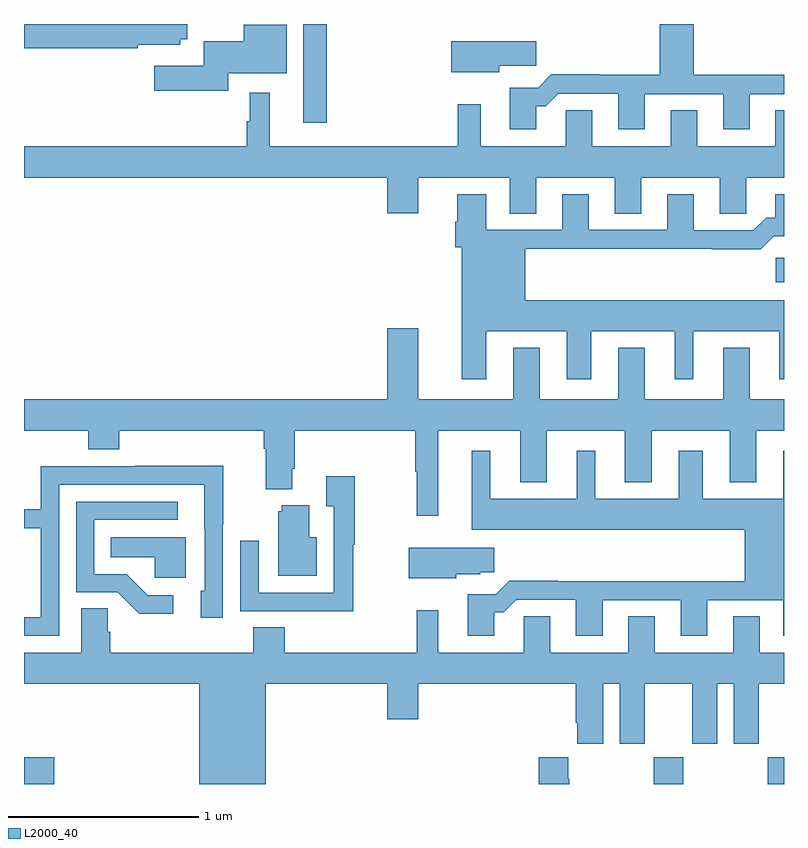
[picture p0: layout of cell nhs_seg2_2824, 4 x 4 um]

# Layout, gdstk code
import gdstk
lib = gdstk.Library(unit=1e-6, precision=1e-09)
def R(c, l, rs):  # rectangles x0, y0, x1, y1
    for r in rs: c.add(gdstk.rectangle(r[:2], r[2:], *l))
def P(c, l, *ps):  # polygons
    for p in ps: c.add(gdstk.Polygon(p, *l))
L2000_40 = (2000, 40)

nhs_seg2_2824 = lib.new_cell('nhs_seg2_2824')
R(nhs_seg2_2824, L2000_40, [(259,621.8,259.16,621.94), (262.315,621.8,262.47,621.94), (262.915,621.8,263,621.94), (262.956,624.44,263,624.569), (260.471,625.281,260.593,625.8)])
P(nhs_seg2_2824, L2000_40, [(261.697,625.367),(261.746,625.367),(261.813,625.434),(262.127,625.434),(262.127,625.245),(262.267,625.245),(262.267,625.431),(262.679,625.431),(262.679,625.245),(262.819,625.245),(262.819,625.431),(263,625.431),(263,625.532),(262.524,625.532),(262.524,625.8),(262.346,625.8),(262.346,625.532),(262.031,625.532),(262.031,625.535),(261.776,625.535),(261.706,625.465),(261.557,625.465),(261.557,625.245),(261.697,625.245)],
  [(259.598,625.692),(259.822,625.692),(259.822,625.721),(259.86,625.721),(259.86,625.8),(259,625.8),(259,625.672),(259.598,625.672)],
  [(260.074,625.541),(260.383,625.541),(260.383,625.795),(260.156,625.795),(260.156,625.708),(259.946,625.708),(259.946,625.579),(259.686,625.579),(259.686,625.45),(260.074,625.45)],
  [(261.502,625.579),(261.697,625.579),(261.697,625.708),(261.248,625.708),(261.248,625.547),(261.502,625.547)],
  [(261.697,624.992),(262.109,624.992),(262.109,624.802),(262.249,624.802),(262.249,624.992),(262.661,624.992),(262.661,624.802),(262.8,624.802),(262.8,624.992),(263,624.992),(263,625.346),(262.955,625.346),(262.955,625.156),(262.543,625.156),(262.543,625.346),(262.403,625.346),(262.403,625.156),(261.991,625.156),(261.991,625.346),(261.852,625.346),(261.852,625.156),(261.403,625.156),(261.403,625.378),(261.282,625.378),(261.282,625.156),(260.293,625.156),(260.293,625.438),(260.189,625.438),(260.189,625.289),(260.172,625.289),(260.172,625.156),(259,625.156),(259,624.992),(260.912,624.992),(260.912,624.804),(261.076,624.804),(261.076,624.992),(261.557,624.992),(261.557,624.802),(261.697,624.802)],
  [(261.433,624.182),(261.857,624.182),(261.857,623.931),(261.985,623.931),(261.985,624.182),(262.424,624.182),(262.424,623.931),(262.522,623.931),(262.522,624.182),(262.976,624.182),(262.976,623.931),(263,623.931),(263,624.346),(261.637,624.346),(261.637,624.616),(262.621,624.616),(262.621,624.614),(262.877,624.614),(262.946,624.683),(263,624.683),(263,624.904),(262.955,624.904),(262.955,624.781),(262.906,624.781),(262.839,624.714),(262.525,624.714),(262.525,624.904),(262.385,624.904),(262.385,624.717),(261.973,624.717),(261.973,624.904),(261.833,624.904),(261.833,624.717),(261.433,624.717),(261.433,624.904),(261.281,624.904),(261.281,624.758),(261.269,624.758),(261.269,624.624),(261.305,624.624),(261.305,623.931),(261.433,623.931)],
  [(261.181,623.66),(261.611,623.66),(261.611,623.387),(261.751,623.387),(261.751,623.66),(262.163,623.66),(262.163,623.387),(262.303,623.387),(262.303,623.66),(262.715,623.66),(262.715,623.387),(262.855,623.387),(262.855,623.66),(263,623.66),(263,623.824),(262.819,623.824),(262.819,624.097),(262.679,624.097),(262.679,623.824),(262.267,623.824),(262.267,624.097),(262.127,624.097),(262.127,623.824),(261.715,623.824),(261.715,624.097),(261.575,624.097),(261.575,623.824),(261.076,623.824),(261.076,624.199),(260.912,624.199),(260.912,623.824),(259,623.824),(259,623.66),(259.337,623.66),(259.337,623.561),(259.502,623.561),(259.502,623.66),(260.261,623.66),(260.261,623.564),(260.273,623.564),(260.273,623.351),(260.413,623.351),(260.413,623.458),(260.426,623.458),(260.426,623.66),(261.06,623.66),(261.06,623.444),(261.067,623.444),(261.067,623.211),(261.181,623.211)],
  [(261.475,622.703),(261.524,622.703),(261.591,622.77),(261.905,622.77),(261.905,622.581),(262.045,622.581),(262.045,622.767),(262.457,622.767),(262.457,622.581),(262.597,622.581),(262.597,622.767),(262.997,622.767),(262.997,622.581),(263,622.581),(263,623.554),(262.997,623.554),(262.997,623.302),(262.573,623.302),(262.573,623.554),(262.445,623.554),(262.445,623.302),(262.006,623.302),(262.006,623.554),(261.908,623.554),(261.908,623.302),(261.454,623.302),(261.454,623.554),(261.356,623.554),(261.356,623.138),(262.793,623.138),(262.793,622.868),(261.809,622.868),(261.809,622.871),(261.554,622.871),(261.483,622.8),(261.335,622.8),(261.335,622.581),(261.475,622.581)],
  [(259.185,623.376),(259.949,623.376),(259.949,623.143),(259.95,623.143),(259.95,622.818),(259.931,622.818),(259.931,622.674),(260.046,622.674),(260.046,623.167),(260.049,623.167),(260.049,623.474),(259.585,623.474),(259.585,623.472),(259.089,623.472),(259.089,623.247),(259,623.247),(259,623.146),(259.089,623.146),(259.089,622.677),(259,622.677),(259,622.581),(259.185,622.581)],
  [(260.732,623.06),(260.74,623.06),(260.74,623.419),(260.591,623.419),(260.591,623.263),(260.631,623.263),(260.631,622.806),(260.235,622.806),(260.235,623.08),(260.139,623.08),(260.139,622.71),(260.455,622.71),(260.455,622.709),(260.732,622.709)],
  [(259.786,622.794),(259.651,622.794),(259.54,622.905),(259.371,622.905),(259.371,623.19),(259.81,623.19),(259.81,623.286),(259.275,623.286),(259.275,622.809),(259.494,622.809),(259.607,622.697),(259.786,622.697)],
  [(260.542,623.098),(260.5,623.098),(260.5,623.266),(260.357,623.266),(260.357,623.235),(260.339,623.235),(260.339,622.895),(260.542,622.895)],
  [(259.852,623.098),(259.456,623.098),(259.456,622.994),(259.687,622.994),(259.687,622.886),(259.852,622.886)],
  [(261.276,622.904),(261.402,622.904),(261.402,622.915),(261.475,622.915),(261.475,623.044),(261.026,623.044),(261.026,622.883),(261.276,622.883)],
  [(260.272,622.328),(260.912,622.328),(260.912,622.14),(261.076,622.14),(261.076,622.328),(261.904,622.328),(261.904,622.123),(261.911,622.123),(261.911,622.011),(262.048,622.011),(262.048,622.328),(262.136,622.328),(262.136,622.011),(262.267,622.011),(262.267,622.328),(262.517,622.328),(262.517,622.011),(262.648,622.011),(262.648,622.328),(262.736,622.328),(262.736,622.011),(262.867,622.011),(262.867,622.328),(263,622.328),(263,622.492),(262.873,622.492),(262.873,622.682),(262.733,622.682),(262.733,622.492),(262.321,622.492),(262.321,622.682),(262.181,622.682),(262.181,622.492),(261.769,622.492),(261.769,622.682),(261.63,622.682),(261.63,622.492),(261.181,622.492),(261.181,622.714),(261.067,622.714),(261.067,622.492),(260.372,622.492),(260.372,622.625),(260.207,622.625),(260.207,622.492),(259.454,622.492),(259.454,622.601),(259.44,622.601),(259.44,622.724),(259.301,622.724),(259.301,622.492),(259,622.492),(259,622.328),(259.922,622.328),(259.922,621.8),(260.272,621.8)],
  [(261.87,621.827),(261.865,621.827),(261.865,621.94),(261.71,621.94),(261.71,621.8),(261.87,621.8)])

lib.write_gds('nhs_seg2_2824.gds')
